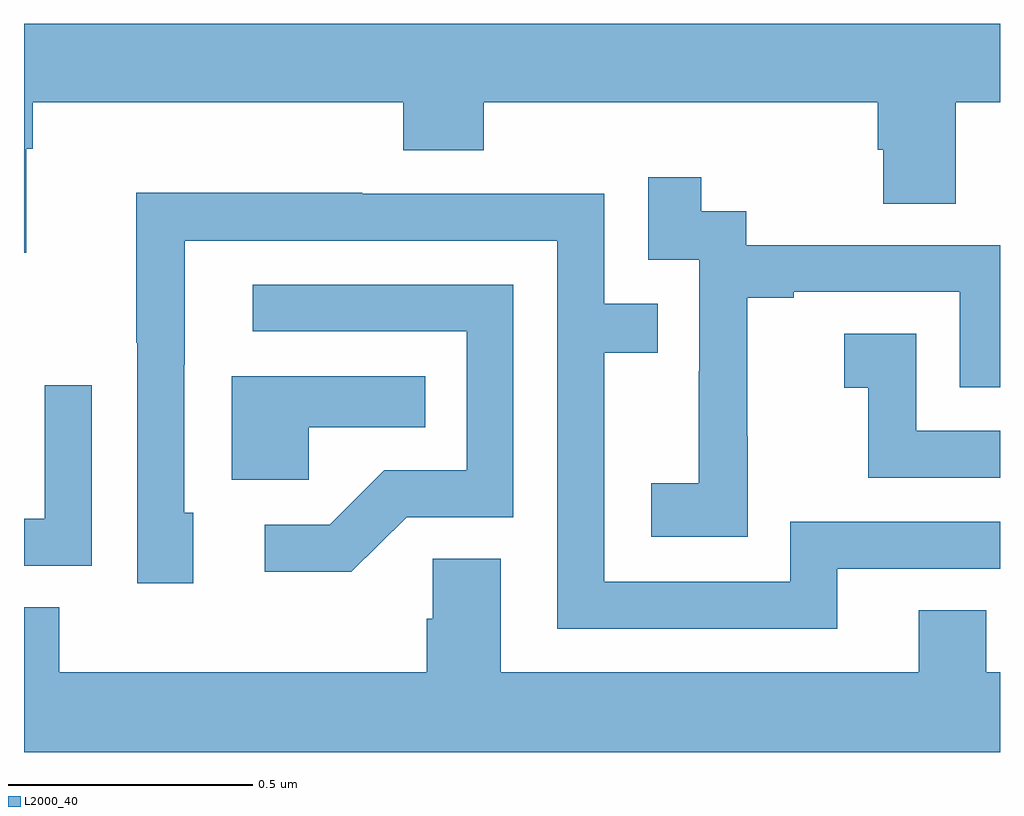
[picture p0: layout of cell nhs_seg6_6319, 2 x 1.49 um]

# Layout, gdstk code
import gdstk
lib = gdstk.Library(unit=1e-6, precision=1e-09)
def P(c, l, *ps):  # polygons
    for p in ps: c.add(gdstk.Polygon(p, *l))
L2000_40 = (2000, 40)

nhs_seg6_6319 = lib.new_cell('nhs_seg6_6319')
P(nhs_seg6_6319, L2000_40, [(194.005,943.244),(194.018,943.244),(194.018,943.34),(194.777,943.34),(194.777,943.241),(194.942,943.241),(194.942,943.34),(195.749,943.34),(195.749,943.242),(195.761,943.242),(195.761,943.132),(195.909,943.132),(195.909,943.34),(196,943.34),(196,943.5),(194,943.5),(194,943.031),(194.005,943.031)],
  [(195.483,942.655),(195.482,942.655),(195.482,942.939),(195.577,942.939),(195.577,942.951),(195.918,942.951),(195.918,942.756),(196,942.756),(196,943.047),(195.48,943.047),(195.48,943.116),(195.388,943.116),(195.388,943.186),(195.279,943.186),(195.279,943.017),(195.384,943.017),(195.384,942.788),(195.383,942.788),(195.383,942.559),(195.285,942.559),(195.285,942.449),(195.483,942.449)],
  [(195.667,942.384),(196,942.384),(196,942.48),(195.57,942.48),(195.57,942.357),(195.189,942.357),(195.189,942.826),(195.299,942.826),(195.299,942.927),(195.189,942.927),(195.189,943.152),(194.693,943.152),(194.693,943.154),(194.23,943.154),(194.23,942.847),(194.232,942.847),(194.232,942.354),(194.347,942.354),(194.347,942.498),(194.328,942.498),(194.328,942.802),(194.329,942.802),(194.329,943.056),(195.093,943.056),(195.093,942.261),(195.667,942.261)],
  [(194.784,942.489),(195.003,942.489),(195.003,942.966),(194.469,942.966),(194.469,942.87),(194.907,942.87),(194.907,942.585),(194.738,942.585),(194.627,942.474),(194.493,942.474),(194.493,942.377),(194.671,942.377)],
  [(196,942.666),(195.828,942.666),(195.828,942.865),(195.681,942.865),(195.681,942.755),(195.73,942.755),(195.73,942.57),(196,942.57)],
  [(194.583,942.674),(194.822,942.674),(194.822,942.778),(194.426,942.778),(194.426,942.566),(194.583,942.566)],
  [(194.139,942.76),(194.043,942.76),(194.043,942.486),(194,942.486),(194,942.39),(194.139,942.39)],
  [(196,942.172),(195.972,942.172),(195.972,942.299),(195.833,942.299),(195.833,942.172),(194.977,942.172),(194.977,942.404),(194.838,942.404),(194.838,942.281),(194.825,942.281),(194.825,942.172),(194.072,942.172),(194.072,942.305),(194,942.305),(194,942.008),(196,942.008)])

lib.write_gds('nhs_seg6_6319.gds')
